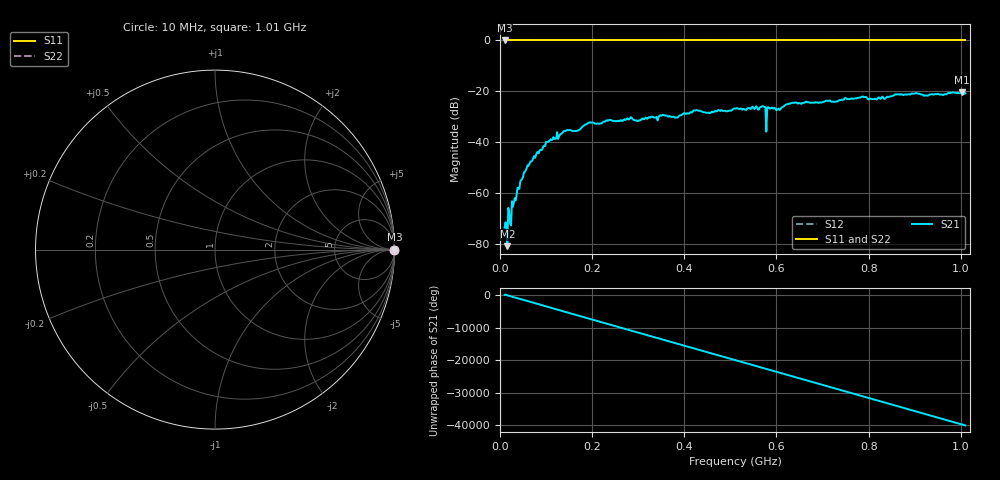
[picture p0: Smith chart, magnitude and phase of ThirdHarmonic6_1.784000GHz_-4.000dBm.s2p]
! 8/16/2025 9:34:02 PM
! C:\ANRITSUVNA\TEMP\TEMP.S2P
! CHANNEL.1
! TR.MEASUREMENT
! RAW.DATA
! RF.CORRECTION.OFF
! AVERAGING.OFF
! IF.BANDWIDTH: 5KHZ
! SWEEPTYPE:  FREQ.SWEEP(Linear)
! Reference Plane Port Info
! PORT:  PORT1  PORT2
! DISTANCE:  0  m  0  m
! TIME:  0  s  0  s
! PHASE.OFFSET:  0  deg.  0  deg.
! LOSS:  0  dB  0  dB
! REF.LOSS:  0  dB  0  dB
! REF.FREQ:  0  Hz  0  Hz
! Power Info
! POWER:  -20  dBm  -20  dBm
! EFF.POWER:  -20  dBm  -20  dBm
! SOURCE.ATTEN:  0  dB  0  dB
! TEST.ATTEN:  0  dB  0  dB
# GHZ S RI R 50.0
! FREQ.GHZ  S11RE  S11IM  S21RE  S21IM  S12RE  S12IM  S22RE  S22IM
!; PortSelection: Port_12
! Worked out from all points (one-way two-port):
!   501 points, 10 MHz to 1.01 GHz, reference 50 ohm
!   highest |S21| = -20.36 dB at 1.002 GHz (marker M1); lowest = -80.7 dB at 16 MHz (marker M2)
!   lowest |S11| = 0.0 dB at 10 MHz (marker M3)
!   |S11| at or under -10 dB: nowhere
!   |S22| runs from 0.0 to 0.0 dB; largest |S21 - S12| = 1.1
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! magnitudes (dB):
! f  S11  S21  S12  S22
! 10 MHz  0.0  -73.4  0.0  0.0
! 12 MHz  0.0  -71.3  0.0  0.0
! 16 MHz  0.0  -80.7  0.0  0.0
! 20 MHz  0.0  -67.1  0.0  0.0
! 22 MHz  0.0  -71.9  0.0  0.0
! 26 MHz  0.0  -63.1  0.0  0.0
! 30 MHz  0.0  -63.7  0.0  0.0
! 48 MHz  0.0  -54.5  0.0  0.0
! 78 MHz  0.0  -45.1  0.0  0.0
! 140 MHz  0.0  -35.6  0.0  0.0
! 178 MHz  0.0  -34.0  0.0  0.0
! 196 MHz  0.0  -32.1  0.0  0.0
! 344 MHz  0.0  -30.1  0.0  0.0
! 510 MHz  0.0  -26.7  0.0  0.0
! 572 MHz  0.0  -25.9  0.0  0.0
! 574 MHz  0.0  -26.1  0.0  0.0
! 582 MHz  0.0  -26.2  0.0  0.0
! 584 MHz  0.0  -26.5  0.0  0.0
! 678 MHz  0.0  -24.4  0.0  0.0
! 844 MHz  0.0  -22.2  0.0  0.0
! 1.002 GHz  0.0  -20.4  0.0  0.0
! 1.01 GHz  0.0  -20.7  0.0  0.0
